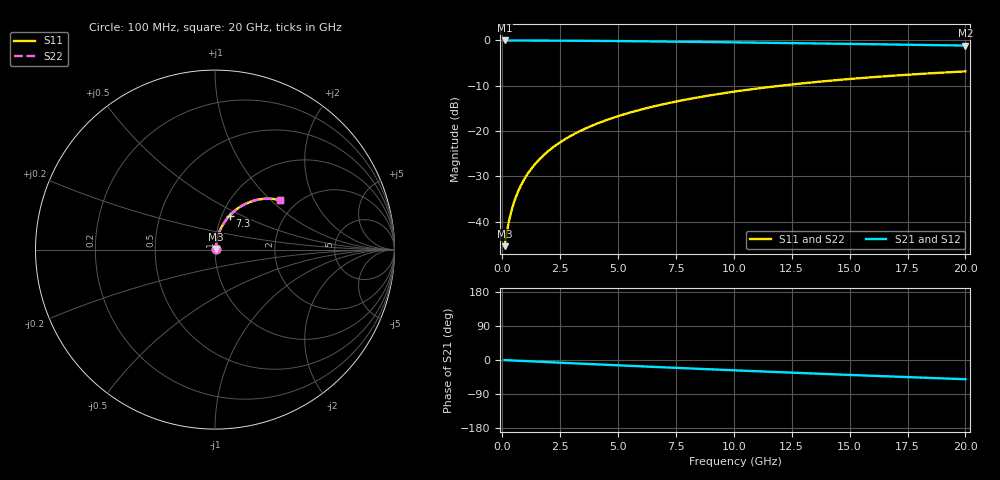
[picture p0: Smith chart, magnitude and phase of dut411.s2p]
! Touchstone file exported from HFSS 2026.1.0
!  File:  C:/ffzhzh/LocalFiles/Ansys_Project_Files/temp_train_TMRDL_411_1783005085_46388.aedt
!  Generated:  11:12:58 PM Jul  2, 2026
!  Design:  TMRDL
!  Project:  temp_train_TMRDL_411_1783005085_46388
! Variables:
!  h_bsmrdl = 2um
!  h_ox = 20um
!  h_rdl = 5um
!  h_sub = 80um
!  h_tmrdl = 4.91um
!  h_tsv = 80um
!  h_via = 3um
!  l_bsmrdl = 300um
!  l_sub = 1183.09um
!  l_tmrdl = 783.09um
!  m_sub = 200um
!  pitch = 36.31um
!  r_tsv = 6um
!  s_tmrdl = 10um
!  w_bsmrdl = 18um
!  w_sub = 500um
!  w_tmrdl = 13.22um
!  x_tsv_center1 = 789.7um
!  x_tsv_center2 = 1107.7um
!  x_tsv_center3 = 1904.01um
!  x_tsv_center4 = 2222.01um
!  x_tsv_center5 = 3018.32um
!  x_tsv_center6 = 3336.32um
# GHz S MA R 50.000000
! Terminal data exported
! Port[1] = TM_RDL1_1_T1
! Port[2] = TM_RDL1_1_T2
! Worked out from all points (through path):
!   200 points, 100 MHz to 20 GHz, reference 50 ohm
!   highest |S21| = -0.04 dB at 100 MHz (marker M1); lowest = -1.2 dB at 20 GHz (marker M2)
!   group delay of S21, straight-line fit = 7.03 ps
!   lowest |S11| = -45.4 dB at 100 MHz (marker M3), VSWR 1.01, Z = 50.4 + j0.323 ohm
!   |S11| at or under -10 dB: start of sweep to 12.04 GHz
!   |S22| runs from -45.4 to -6.9 dB; largest |S21 - S12| = 9.5e-15
!   S11 on the Smith chart (normalised r, x): 100 MHz: 1.01, +0.01; 7.3 GHz: 1.09, +0.43; 20 GHz: 1.64, +1.14
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0.1  0.005386 36.4  0.9957 -0.3  0.9957 -0.3  0.005386 36.4
! Gamma 0 0 0 0
! Port Impedance 50 0 50 0
0.2  0.007771 54.6  0.9955 -0.6  0.9955 -0.6  0.007771 54.6
0.3  0.01051 63.3  0.9954 -0.9  0.9954 -0.9  0.01051 63.3
0.4  0.01336 68.2  0.9952 -1.2  0.9952 -1.2  0.01336 68.2
0.5  0.01624 71.3  0.9951 -1.5  0.9951 -1.5  0.01624 71.3
0.6  0.01915 73.4  0.9949 -1.7  0.9949 -1.7  0.01915 73.4
0.8  0.02501 76.0  0.9947 -2.3  0.9947 -2.3  0.02501 76.0
1.1  0.03387 77.9  0.9942 -3.2  0.9942 -3.2  0.03387 77.9
1.5  0.04573 78.8  0.9935 -4.3  0.9935 -4.3  0.04573 78.8
1.8  0.05461 78.8  0.9928 -5.2  0.9928 -5.2  0.05461 78.8
2.1  0.06345 78.6  0.992 -6.0  0.992 -6.0  0.06345 78.6
2.7  0.081 77.7  0.9902 -7.7  0.9902 -7.7  0.081 77.7
3.5  0.104 76.0  0.9872 -9.9  0.9872 -9.9  0.104 76.0
4.2  0.1238 74.4  0.9842 -11.9  0.9842 -11.9  0.1238 74.4
5  0.1458 72.4  0.9804 -14.1  0.9804 -14.1  0.1458 72.4
6.8  0.1935 67.9  0.9704 -18.9  0.9704 -18.9  0.1935 67.9
7.3  0.2063 66.7  0.9674 -20.2  0.9674 -20.2  0.2063 66.7
8.6  0.2384 63.5  0.959 -23.6  0.959 -23.6  0.2384 63.5
10.1  0.2737 59.8  0.9488 -27.4  0.9488 -27.4  0.2737 59.8
13.4  0.3441 52.0  0.9245 -35.6  0.9245 -35.6  0.3441 52.0
16.7  0.4043 44.5  0.8994 -43.3  0.8994 -43.3  0.4043 44.6
20  0.4543 37.4  0.8752 -50.7  0.8752 -50.7  0.4544 37.5
